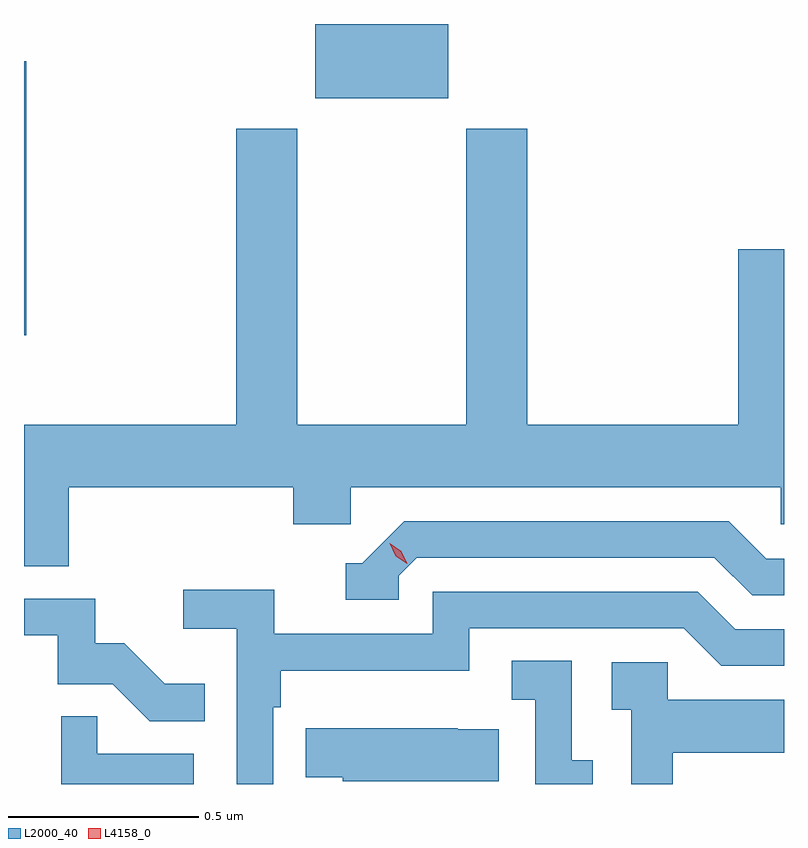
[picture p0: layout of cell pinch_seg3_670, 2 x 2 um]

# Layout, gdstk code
import gdstk
lib = gdstk.Library(unit=1e-6, precision=1e-09)
def R(c, l, rs):  # rectangles x0, y0, x1, y1
    for r in rs: c.add(gdstk.rectangle(r[:2], r[2:], *l))
def P(c, l, *ps):  # polygons
    for p in ps: c.add(gdstk.Polygon(p, *l))
L2000_40 = (2000, 40)
L4158_0 = (4158, 0)

pinch_seg3_670 = lib.new_cell('pinch_seg3_670')
R(pinch_seg3_670, L2000_40, [(1025.068,685.332,1025.074,686.053), (1025.834,685.955,1026.184,686.151)])
P(pinch_seg3_670, L2000_40, [(1025.186,684.932),(1025.777,684.932),(1025.777,684.834),(1025.928,684.834),(1025.928,684.932),(1027.059,684.932),(1027.059,684.834),(1027.068,684.834),(1027.068,685.558),(1026.947,685.558),(1026.947,685.096),(1026.392,685.096),(1026.392,685.876),(1026.232,685.876),(1026.232,685.096),(1025.787,685.096),(1025.787,685.876),(1025.627,685.876),(1025.627,685.096),(1025.068,685.096),(1025.068,684.724),(1025.186,684.724)],
  [(1026.054,684.699),(1026.102,684.747),(1026.885,684.747),(1026.984,684.648),(1027.068,684.648),(1027.068,684.744),(1027.021,684.744),(1026.922,684.843),(1026.069,684.843),(1025.958,684.732),(1025.915,684.732),(1025.915,684.636),(1026.054,684.636)],
  [(1025.724,684.353),(1025.744,684.353),(1025.744,684.449),(1026.24,684.449),(1026.24,684.561),(1026.804,684.561),(1026.903,684.462),(1027.068,684.462),(1027.068,684.558),(1026.94,684.558),(1026.841,684.657),(1026.144,684.657),(1026.144,684.546),(1025.726,684.546),(1025.726,684.662),(1025.487,684.662),(1025.487,684.56),(1025.628,684.56),(1025.628,684.151),(1025.724,684.151)],
  [(1025.543,684.415),(1025.439,684.415),(1025.332,684.522),(1025.256,684.522),(1025.256,684.639),(1025.068,684.639),(1025.068,684.543),(1025.157,684.543),(1025.157,684.414),(1025.301,684.414),(1025.399,684.316),(1025.543,684.316)],
  [(1026.565,684.213),(1026.51,684.213),(1026.51,684.476),(1026.351,684.476),(1026.351,684.373),(1026.414,684.373),(1026.414,684.151),(1026.565,684.151)],
  [(1026.775,684.233),(1027.068,684.233),(1027.068,684.373),(1026.762,684.373),(1026.762,684.471),(1026.615,684.471),(1026.615,684.347),(1026.666,684.347),(1026.666,684.151),(1026.775,684.151)],
  [(1025.515,684.231),(1025.261,684.231),(1025.261,684.329),(1025.166,684.329),(1025.166,684.151),(1025.515,684.151)],
  [(1026.317,684.295),(1026.209,684.295),(1026.209,684.298),(1025.809,684.298),(1025.809,684.169),(1025.907,684.169),(1025.907,684.158),(1026.317,684.158)])
P(pinch_seg3_670, L4158_0, [(1026.076,684.731),(1026.046,684.751),(1026.03,684.784),(1026.03,684.785),(1026.03,684.785),(1026.061,684.764),(1026.077,684.731),(1026.077,684.731)])

lib.write_gds('pinch_seg3_670.gds')
